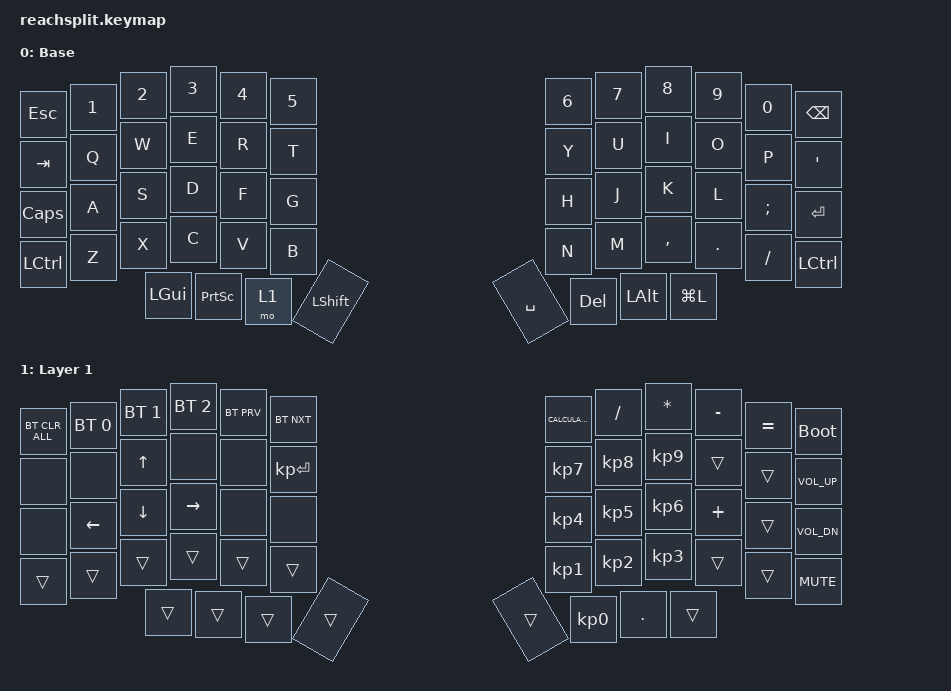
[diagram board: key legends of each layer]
#include <behaviors.dtsi>
#include <dt-bindings/zmk/bt.h>
#include <dt-bindings/zmk/keys.h>

/ {
    combos {
        compatible = "zmk,combos";

        saves {
            bindings = <&kp LC(S)>;
            key-positions = <48 26>;
        };
    };

    macros {
        save: save {
            compatible = "zmk,behavior-macro";
            #binding-cells = <0>;
            bindings = <>;
            label = "SAVE";
        };
    };

    keymap {
        compatible = "zmk,keymap";

        default_layer {
            display-name = "Base";
            bindings = <
&kp ESC    &kp N1  &kp N2  &kp N3    &kp N4           &kp N5                        &kp N6   &kp N7    &kp N8     &kp N9   &kp N0     &kp BSPC
&kp TAB    &kp Q   &kp W   &kp E     &kp R            &kp T                         &kp Y    &kp U     &kp I      &kp O    &kp P      &kp SQT
&kp CAPS   &kp A   &kp S   &kp D     &kp F            &kp G                         &kp H    &kp J     &kp K      &kp L    &kp SEMI   &kp RET
&kp LCTRL  &kp Z   &kp X   &kp C     &kp V            &kp B                         &kp N    &kp M     &kp COMMA  &kp DOT  &kp SLASH  &kp LCTRL
                           &kp LGUI  &kp PRINTSCREEN  &mo 1   &kp LSHFT  &kp SPACE  &kp DEL  &kp LALT  &kp LG(L)
            >;
        };

        layer_1 {
            display-name = "Layer 1";
            bindings = <
&bt BT_CLR_ALL  &bt BT_SEL 0  &bt BT_SEL 1  &bt BT_SEL 2  &bt BT_PRV  &bt BT_NXT                    &kp K_CALCULATOR  &kp SLASH        &kp ASTERISK     &kp MINUS  &kp EQUAL  &bootloader
&none           &none         &kp UP        &none         &none       &kp KP_ENTER                  &kp KP_NUMBER_7   &kp KP_NUMBER_8  &kp KP_NUMBER_9  &trans     &trans     &kp C_VOLUME_UP
&none           &kp LEFT      &kp DOWN      &kp RIGHT     &none       &none                         &kp KP_NUMBER_4   &kp KP_NUMBER_5  &kp KP_NUMBER_6  &kp PLUS   &trans     &kp C_VOL_DN
&trans          &trans        &trans        &trans        &trans      &trans                        &kp KP_NUMBER_1   &kp KP_NUMBER_2  &kp KP_NUMBER_3  &trans     &trans     &kp C_MUTE
                                            &trans        &trans      &trans        &trans  &trans  &kp KP_NUMBER_0   &kp DOT          &trans
            >;
        };
    };
};
